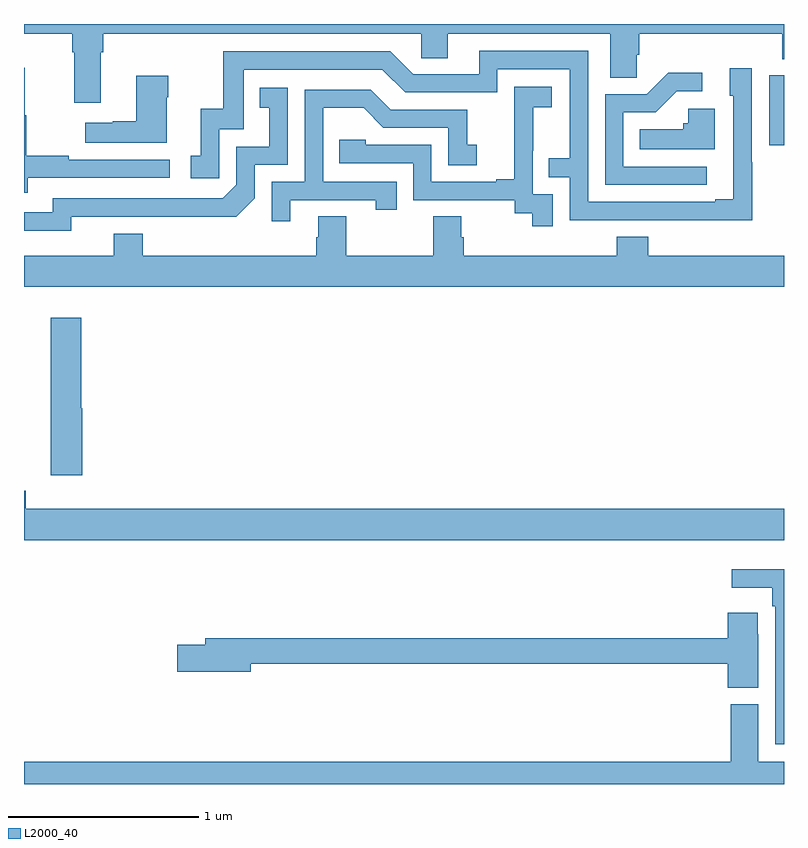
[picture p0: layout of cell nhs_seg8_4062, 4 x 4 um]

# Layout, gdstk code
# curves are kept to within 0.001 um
import gdstk
lib = gdstk.Library(unit=1e-6, precision=1e-09)
def R(c, l, rs):  # rectangles x0, y0, x1, y1
    for r in rs: c.add(gdstk.rectangle(r[:2], r[2:], *l))
def P(c, l, *ps):  # polygons
    for p in ps: c.add(gdstk.Polygon(p, *l))
L2000_40 = (2000, 40)

nhs_seg8_4062 = lib.new_cell('nhs_seg8_4062')
R(nhs_seg8_4062, L2000_40, [(364.923,1101.261,365,1101.63)])
P(nhs_seg8_4062, L2000_40, [(361.405,1101.752),(361.418,1101.752),(361.418,1101.848),(363.09,1101.848),(363.09,1101.721),(363.229,1101.721),(363.229,1101.848),(364.085,1101.848),(364.085,1101.616),(364.224,1101.616),(364.224,1101.739),(364.238,1101.739),(364.238,1101.848),(364.991,1101.848),(364.991,1101.715),(365,1101.715),(365,1101.9),(361,1101.9),(361,1101.848),(361.253,1101.848),(361.253,1101.752),(361.265,1101.752),(361.265,1101.486),(361.405,1101.486)],
  [(364.833,1101.173),(364.83,1101.173),(364.83,1101.667),(364.715,1101.667),(364.715,1101.522),(364.734,1101.522),(364.734,1100.977),(364.637,1100.977),(364.637,1100.964),(363.969,1100.964),(363.969,1101.759),(363.395,1101.759),(363.395,1101.636),(363.048,1101.636),(362.928,1101.756),(362.049,1101.756),(362.049,1101.454),(361.931,1101.454),(361.931,1101.207),(361.878,1101.207),(361.878,1101.087),(362.028,1101.087),(362.028,1101.345),(362.157,1101.345),(362.157,1101.66),(362.886,1101.66),(363.006,1101.54),(363.492,1101.54),(363.492,1101.663),(363.873,1101.663),(363.873,1101.194),(363.763,1101.194),(363.763,1101.093),(363.873,1101.093),(363.873,1100.868),(364.833,1100.867)],
  [(361.019,1101.09),(361.768,1101.09),(361.768,1101.186),(361.235,1101.186),(361.235,1101.206),(361.012,1101.206),(361.012,1101.42),(361.004,1101.42),(361.004,1101.67),(361,1101.67),(361,1101.012),(361.019,1101.012)],
  [(364.594,1101.15),(364.155,1101.15),(364.155,1101.435),(364.324,1101.435),(364.435,1101.546),(364.57,1101.546),(364.57,1101.644),(364.391,1101.644),(364.278,1101.531),(364.059,1101.531),(364.059,1101.054),(364.594,1101.054)],
  [(361.75,1101.515),(361.758,1101.515),(361.758,1101.628),(361.592,1101.628),(361.592,1101.389),(361.466,1101.389),(361.466,1101.379),(361.323,1101.379),(361.323,1101.275),(361.75,1101.275)],
  [(363.783,1101.003),(363.678,1101.003),(363.678,1101.233),(363.68,1101.233),(363.68,1101.461),(363.778,1101.461),(363.778,1101.571),(363.58,1101.571),(363.58,1101.365),(363.581,1101.365),(363.581,1101.082),(363.485,1101.082),(363.485,1101.069),(363.144,1101.069),(363.144,1101.264),(362.799,1101.264),(362.799,1101.291),(362.659,1101.291),(362.659,1101.168),(363.048,1101.168),(363.048,1100.973),(363.582,1100.973),(363.582,1100.905),(363.675,1100.905),(363.675,1100.835),(363.783,1100.835)],
  [(361.248,1100.886),(362.116,1100.885),(362.214,1100.982),(362.214,1101.159),(362.388,1101.159),(362.388,1101.565),(362.242,1101.565),(362.242,1101.459),(362.291,1101.459),(362.291,1101.255),(362.118,1101.255),(362.118,1101.054),(362.046,1100.982),(361.152,1100.982),(361.152,1100.91),(361,1100.91),(361,1100.813),(361.248,1100.813)],
  [(362.401,1100.973),(362.852,1100.973),(362.852,1100.922),(362.963,1100.922),(362.963,1101.069),(362.574,1101.069),(362.574,1101.458),(362.788,1101.458),(362.892,1101.354),(363.234,1101.354),(363.234,1101.156),(363.382,1101.156),(363.382,1101.265),(363.333,1101.265),(363.333,1101.45),(362.929,1101.45),(362.824,1101.555),(362.478,1101.555),(362.478,1101.069),(362.304,1101.069),(362.304,1100.862),(362.401,1100.862)],
  [(364.636,1101.454),(364.497,1101.454),(364.497,1101.378),(364.471,1101.378),(364.471,1101.346),(364.24,1101.346),(364.24,1101.242),(364.636,1101.242)],
  [(365,1100.68),(364.286,1100.68),(364.286,1100.779),(364.121,1100.779),(364.121,1100.68),(363.314,1100.68),(363.314,1100.778),(363.301,1100.778),(363.301,1100.888),(363.154,1100.888),(363.154,1100.68),(362.697,1100.68),(362.697,1100.888),(362.549,1100.888),(362.549,1100.778),(362.537,1100.778),(362.537,1100.68),(361.625,1100.68),(361.625,1100.797),(361.472,1100.797),(361.472,1100.68),(361,1100.68),(361,1100.516),(365,1100.516)],
  [(361.306,1099.878),(361.301,1099.878),(361.301,1100.353),(361.142,1100.353),(361.142,1099.526),(361.306,1099.526)],
  [(365,1099.348),(361.01,1099.348),(361.01,1099.444),(361,1099.444),(361,1099.184),(365,1099.184)],
  [(365,1099.03),(364.725,1099.03),(364.725,1098.932),(364.937,1098.932),(364.937,1098.836),(364.953,1098.836),(364.953,1098.11),(365,1098.11)],
  [(364.864,1098.689),(364.863,1098.689),(364.863,1098.802),(364.703,1098.802),(364.703,1098.668),(361.955,1098.668),(361.955,1098.632),(361.806,1098.632),(361.806,1098.49),(362.194,1098.49),(362.194,1098.532),(364.703,1098.532),(364.703,1098.406),(364.864,1098.406)],
  [(365,1098.016),(364.864,1098.016),(364.864,1098.321),(364.721,1098.321),(364.721,1098.016),(361,1098.016),(361,1097.9),(365,1097.9)])

lib.write_gds('nhs_seg8_4062.gds')
